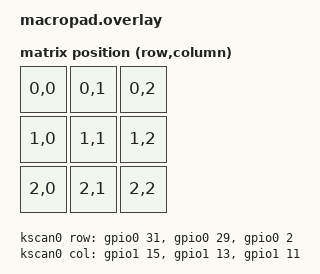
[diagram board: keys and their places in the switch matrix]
/*
 * Macropad 3x3 - nice!nano pin wiring
 *
 * ROW0 -> pin 7 (P0.31)
 * ROW1 -> pin 6 (P0.29)
 * ROW2 -> pin 5 (P0.02)
 * COL0 -> pin 4 (P1.15)
 * COL1 -> pin 3 (P1.13)
 * COL2 -> pin 2 (P1.11)
 *
 * Diode stripe (cathode) points toward COL wire on each switch.
 */

#include <dt-bindings/zmk/matrix-transform.h>

/ {
	chosen {
		zmk,kscan = &kscan0;
		zmk,matrix-transform = &default_transform;
	};

	default_transform: keymap_transform_0 {
		compatible = "zmk,matrix-transform";
		columns = <3>;
		rows = <3>;
		map = <
			RC(0,0) RC(0,1) RC(0,2)
			RC(1,0) RC(1,1) RC(1,2)
			RC(2,0) RC(2,1) RC(2,2)
		>;
	};

	kscan0: kscan_0 {
		compatible = "zmk,kscan-gpio-matrix";
		label = "KSCAN";
		diode-direction = "col2row";

		row-gpios
			= <&gpio0 31 (GPIO_ACTIVE_HIGH | GPIO_PULL_DOWN)>
			, <&gpio0 29 (GPIO_ACTIVE_HIGH | GPIO_PULL_DOWN)>
			, <&gpio0  2 (GPIO_ACTIVE_HIGH | GPIO_PULL_DOWN)>
			;

		col-gpios
			= <&gpio1 15 GPIO_ACTIVE_HIGH>
			, <&gpio1 13 GPIO_ACTIVE_HIGH>
			, <&gpio1 11 GPIO_ACTIVE_HIGH>
			;
	};
};
